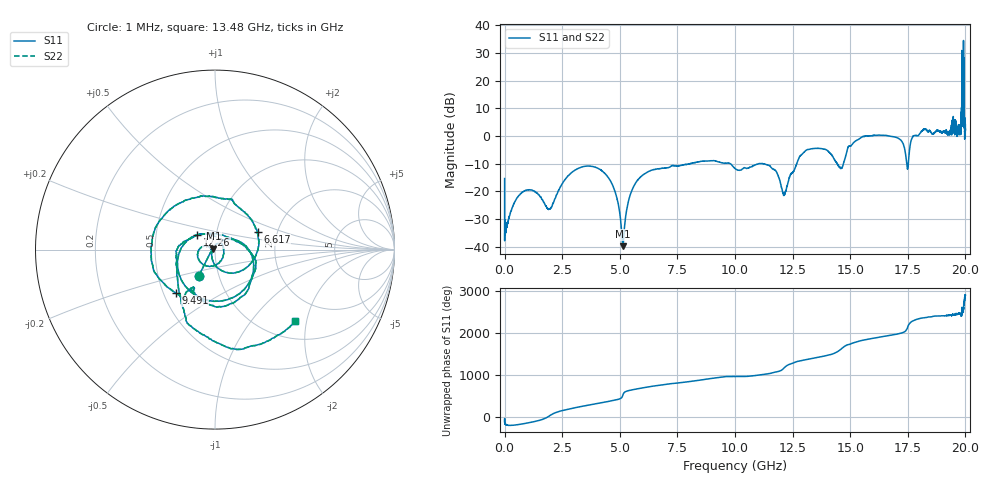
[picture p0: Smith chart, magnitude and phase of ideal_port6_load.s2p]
! Created with skrf (http://scikit-rf.org).
# GHz S RI R 50.0
!freq ReS11 ImS11 ReS21 ImS21 ReS12 ImS12 ReS22 ImS22
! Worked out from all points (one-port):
!   10001 points, 1 MHz to 20 GHz, reference 50 ohm
!   lowest |S11| = -39.8 dB at 5.131 GHz (marker M1), VSWR 1.02, Z = 49.1 + j0.544 ohm
!   |S11| at or under -10 dB: start of sweep to 8.038 GHz; 9.809 GHz to 11.01 GHz (1.205 GHz wide, 11.6 % of centre); 11.22 GHz to 12.68 GHz (1.461 GHz wide, 12.2 % of centre) (the widest 3 of 6)
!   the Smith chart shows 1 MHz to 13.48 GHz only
!   S11 on the Smith chart (normalised r, x): 1 MHz: 0.80, -0.24; 6.617 GHz: 1.58, +0.33; 9.491 GHz: 0.58, -0.31; 12.26 GHz: 0.81, +0.13; 13.48 GHz: 1.40, -1.73
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0.001  -0.0902 -0.1456  0 0  0 0  -0.0902 -0.1456
3.334833  -0.1165 -0.2497  0 0  0 0  -0.1165 -0.2497
5.130744  -0.00864 0.00554  0 0  0 0  -0.00864 0.00554
6.616669  0.2372 0.0987  0 0  0 0  0.2372 0.0987
6.668667  0.2281 0.1153  0 0  0 0  0.2281 0.1153
9.490526  -0.2188 -0.2413  0 0  0 0  -0.2188 -0.2413
10.0005  -0.1393 -0.2199  0 0  0 0  -0.1393 -0.2199
12.26439  -0.0975 0.0816  0 0  0 0  -0.0975 0.0816
13.33433  0.3261 -0.4922  0 0  0 0  0.3261 -0.4922
13.47633  0.4514 -0.3963  0 0  0 0  0.4514 -0.3963
14.66227  -0.261 -0.0901  0 0  0 0  -0.261 -0.0901
15.01225  0.2386 -0.6164  0 0  0 0  0.2386 -0.6164
15.55022  0.9232 0.3394  0 0  0 0  0.9232 0.3394
16.66817  -0.6434 0.7783  0 0  0 0  -0.6434 0.7783
17.34813  -0.5003 -0.3883  0 0  0 0  -0.5003 -0.3883
17.54812  0.3299 0.2662  0 0  0 0  0.3299 0.2662
17.72411  -0.5267 0.8394  0 0  0 0  -0.5267 0.8394
18.21809  -1.287 -0.338  0 0  0 0  -1.287 -0.338
19.51202  -0.1939 -1.927  0 0  0 0  -0.1939 -1.927
19.74001  0.6041 -1.211  0 0  0 0  0.6041 -1.211
19.82201  -0.441 -2.249  0 0  0 0  -0.441 -2.249
20  1.277 0.3956  0 0  0 0  1.277 0.3956
